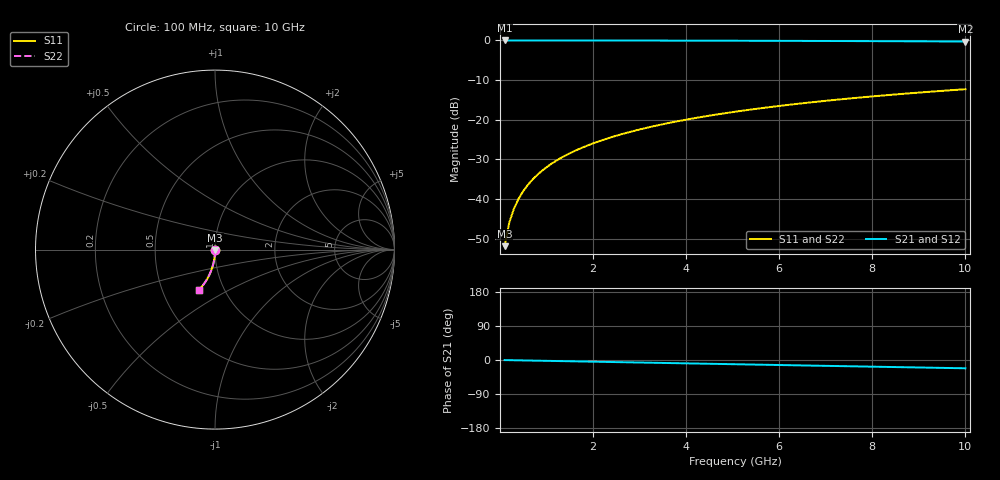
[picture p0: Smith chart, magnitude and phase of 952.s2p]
# Hz S RI R 50.00
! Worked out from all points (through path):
!   100 points, 100 MHz to 10 GHz, reference 50 ohm
!   highest |S21| = 0.00 dB at 100 MHz (marker M1); lowest = -0.3 dB at 10 GHz (marker M2)
!   group delay of S21, straight-line fit = 6.08 ps
!   lowest |S11| = -51.8 dB at 100 MHz (marker M3), VSWR 1.01, Z = 50 - j0.253 ohm
!   |S11| at or under -10 dB: start of sweep to end of sweep
!   |S22| runs from -51.8 to -12.3 dB; largest |S21 - S12| = 0
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1e8  0.000403 -0.00253  0.9996 -0.00387  0.9996 -0.00387  0.000403 -0.00253
2e8  0.000373 -0.00505  0.9995 -0.00774  0.9995 -0.00774  0.000373 -0.00505
3e8  0.000323 -0.00758  0.9995 -0.0116  0.9995 -0.0116  0.000323 -0.00758
4e8  0.000253 -0.0101  0.9994 -0.0155  0.9994 -0.0155  0.000253 -0.0101
5e8  0.000164 -0.0126  0.9993 -0.0194  0.9993 -0.0194  0.000164 -0.0126
6e8  5.43e-05 -0.0151  0.9992 -0.0232  0.9992 -0.0232  5.43e-05 -0.0151
7e8  -7.46e-05 -0.0177  0.999 -0.0271  0.999 -0.0271  -7.46e-05 -0.0177
8e8  -0.000223 -0.0202  0.9989 -0.031  0.9989 -0.031  -0.000223 -0.0202
9e8  -0.000391 -0.0227  0.9987 -0.0348  0.9987 -0.0348  -0.000391 -0.0227
1.1e9  -0.000786 -0.0277  0.9982 -0.0425  0.9982 -0.0425  -0.000786 -0.0277
1.4e9  -0.00152 -0.0353  0.9974 -0.0541  0.9974 -0.0541  -0.00152 -0.0353
1.8e9  -0.00278 -0.0453  0.9961 -0.0695  0.9961 -0.0695  -0.00278 -0.0453
2.1e9  -0.00393 -0.0528  0.9948 -0.0811  0.9948 -0.0811  -0.00393 -0.0528
2.5e9  -0.00572 -0.0627  0.9928 -0.0964  0.9928 -0.0964  -0.00572 -0.0627
2.9e9  -0.00782 -0.0726  0.9905 -0.1116  0.9905 -0.1116  -0.00782 -0.0726
3.4e9  -0.0109 -0.0848  0.9872 -0.1306  0.9872 -0.1306  -0.0109 -0.0848
4.2e9  -0.0167 -0.104  0.9808 -0.1606  0.9808 -0.1606  -0.0167 -0.104
5.1e9  -0.0247 -0.1251  0.9721 -0.1939  0.9721 -0.1939  -0.0247 -0.1251
5.9e9  -0.0329 -0.1433  0.963 -0.2229  0.963 -0.2229  -0.0329 -0.1433
6.7e9  -0.0422 -0.1609  0.9528 -0.2514  0.9528 -0.2514  -0.0422 -0.1609
8.4e9  -0.0651 -0.1959  0.9274 -0.3095  0.9274 -0.3095  -0.0651 -0.1959
1e10  -0.0903 -0.2255  0.8995 -0.361  0.8995 -0.361  -0.0903 -0.2255
